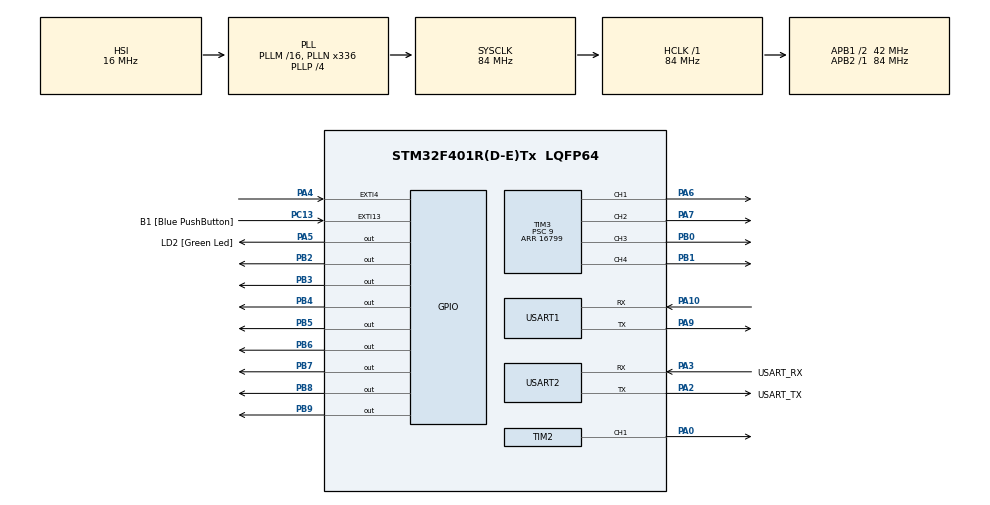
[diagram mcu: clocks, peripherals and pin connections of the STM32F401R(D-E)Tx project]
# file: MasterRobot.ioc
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Mcu.Family=STM32F4
Mcu.Name=STM32F401R(D-E)Tx
Mcu.Package=LQFP64
NVIC.EXTI15_10_IRQn=true\:0\:0\:false\:false\:true\:true\:true
NVIC.EXTI4_IRQn=true\:0\:0\:false\:false\:true\:true\:true
NVIC.PriorityGroup=NVIC_PRIORITYGROUP_0
NVIC.TIM5_IRQn=true\:0\:0\:false\:false\:true\:true\:true
NVIC.USART1_IRQn=true\:0\:0\:false\:false\:true\:true\:true
PA0-WKUP.Signal=S_TIM2_CH1_ETR
PA10.Mode=Asynchronous
PA10.Signal=USART1_RX
PA13.GPIO_Label=TMS
PA13.Mode=Serial_Wire
PA13.Signal=SYS_JTMS-SWDIO
PA14.GPIO_Label=TCK
PA14.Mode=Serial_Wire
PA14.Signal=SYS_JTCK-SWCLK
PA2.GPIO_Label=USART_TX
PA2.GPIO_Mode=GPIO_MODE_AF_PP
PA2.GPIO_PuPd=GPIO_NOPULL
PA2.GPIO_Speed=GPIO_SPEED_FREQ_LOW
PA2.Mode=Asynchronous
PA2.Signal=USART2_TX
PA3.GPIO_Label=USART_RX
PA3.GPIO_Mode=GPIO_MODE_AF_PP
PA3.GPIO_PuPd=GPIO_NOPULL
PA3.GPIO_Speed=GPIO_SPEED_FREQ_LOW
PA3.Mode=Asynchronous
PA3.Signal=USART2_RX
PA4.Signal=GPXTI4
PA5.GPIO_Label=LD2 [Green Led]
PA5.GPIO_Mode=GPIO_MODE_OUTPUT_PP
PA5.GPIO_PuPd=GPIO_NOPULL
PA5.GPIO_Speed=GPIO_SPEED_FREQ_LOW
PA5.Signal=GPIO_Output
PA6.Signal=S_TIM3_CH1
PA7.Signal=S_TIM3_CH2
PA9.Mode=Asynchronous
PA9.Signal=USART1_TX
PB0.Signal=S_TIM3_CH3
PB1.Signal=S_TIM3_CH4
PB2.Signal=GPIO_Output
PB3.Signal=GPIO_Output
PB4.Signal=GPIO_Output
PB5.Signal=GPIO_Output
PB6.Signal=GPIO_Output
PB7.Signal=GPIO_Output
PB8.Signal=GPIO_Output
PB9.Signal=GPIO_Output
PC13-ANTI_TAMP.GPIO_Label=B1 [Blue PushButton]
PC13-ANTI_TAMP.GPIO_ModeDefaultEXTI=GPIO_MODE_IT_FALLING
PC13-ANTI_TAMP.GPIO_PuPd=GPIO_NOPULL
PC13-ANTI_TAMP.Signal=GPXTI13
PC14-OSC32_IN.Mode=LSE-External-Oscillator
PC14-OSC32_IN.Signal=RCC_OSC32_IN
PC15-OSC32_OUT.Mode=LSE-External-Oscillator
PC15-OSC32_OUT.Signal=RCC_OSC32_OUT
PH0\ -\ OSC_IN.Mode=HSE-External-Clock-Source
PH0\ -\ OSC_IN.Signal=RCC_OSC_IN
PH1\ -\ OSC_OUT.Mode=HSE-External-Clock-Source
PH1\ -\ OSC_OUT.Signal=RCC_OSC_OUT
ProjectManager.HeapSize=0x200
ProjectManager.StackSize=0x400
ProjectManager.TargetToolchain=STM32CubeIDE
RCC.48MHZClocksFreq_Value=48000000
RCC.AHBFreq_Value=84000000
RCC.APB1CLKDivider=RCC_HCLK_DIV2
RCC.APB1Freq_Value=42000000
RCC.APB1TimFreq_Value=84000000
RCC.APB2Freq_Value=84000000
RCC.APB2TimFreq_Value=84000000
RCC.CortexFreq_Value=84000000
RCC.HCLKFreq_Value=84000000
RCC.HSE_VALUE=8000000
RCC.HSI_VALUE=16000000
RCC.PLLN=336
RCC.PLLP=RCC_PLLP_DIV4
RCC.PLLQ=7
RCC.SYSCLKFreq_VALUE=84000000
RCC.SYSCLKSource=RCC_SYSCLKSOURCE_PLLCLK
RCC.VCOOutputFreq_Value=336000000
SH.S_TIM2_CH1_ETR.0=TIM2_CH1,PWM Generation1 CH1
SH.S_TIM3_CH1.0=TIM3_CH1,PWM Generation1 CH1
SH.S_TIM3_CH2.0=TIM3_CH2,PWM Generation2 CH2
SH.S_TIM3_CH3.0=TIM3_CH3,PWM Generation3 CH3
SH.S_TIM3_CH4.0=TIM3_CH4,PWM Generation4 CH4
TIM1.Channel-Output\ Compare1\ No\ Output=TIM_CHANNEL_1
TIM1.Prescaler=83
TIM2.Channel-PWM\ Generation1\ CH1=TIM_CHANNEL_1
TIM2.Period=25
TIM2.Prescaler=83
TIM2.Pulse-PWM\ Generation1\ CH1=13
TIM3.AutoReloadPreload=TIM_AUTORELOAD_PRELOAD_ENABLE
TIM3.Channel-PWM\ Generation1\ CH1=TIM_CHANNEL_1
TIM3.Channel-PWM\ Generation2\ CH2=TIM_CHANNEL_2
TIM3.Channel-PWM\ Generation3\ CH3=TIM_CHANNEL_3
TIM3.Channel-PWM\ Generation4\ CH4=TIM_CHANNEL_4
TIM3.Period=16799
TIM3.Prescaler=9
TIM5.Channel-Output\ Compare2\ No\ Output=TIM_CHANNEL_2
TIM5.Period=59999
TIM5.Prescaler=83
USART1.VirtualMode=VM_ASYNC
USART2.VirtualMode=VM_ASYNC
VP_TIM1_VS_no_output1.Mode=Output Compare1 No Output
VP_TIM2_VS_ClockSourceINT.Mode=Internal
VP_TIM3_VS_ClockSourceINT.Mode=Internal
VP_TIM5_VS_ClockSourceINT.Mode=Internal
VP_TIM5_VS_no_output2.Mode=Output Compare2 No Output
board=NUCLEO-F401RE

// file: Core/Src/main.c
/* USER CODE BEGIN Header */
/**
  ******************************************************************************
  * @file           : main.c
  * @brief          : Main program body
  ******************************************************************************
  * @attention
  *
  * <h2><center>&copy; Copyright (c) 2021 STMicroelectronics.
  * All rights reserved.</center></h2>
  *
  * This software component is licensed by ST under BSD 3-Clause license,
  * the "License"; You may not use this file except in compliance with the
  * License. You may obtain a copy of the License at:
  *                        opensource.org/licenses/BSD-3-Clause
  *
  ******************************************************************************
  */
/* USER CODE END Header */
#include "main.h"

/* USER CODE BEGIN Includes */
#include "motor.h"
#include "stepper.h"
/* USER CODE END Includes */

TIM_HandleTypeDef htim1;
TIM_HandleTypeDef htim2;
TIM_HandleTypeDef htim3;
TIM_HandleTypeDef htim5;

UART_HandleTypeDef huart1;
UART_HandleTypeDef huart2;

void SystemClock_Config(void);
static void MX_GPIO_Init(void);
static void MX_USART2_UART_Init(void);
static void MX_TIM2_Init(void);
static void MX_TIM3_Init(void);
static void MX_USART1_UART_Init(void);
static void MX_TIM5_Init(void);
static void MX_TIM1_Init(void);

/* USER CODE BEGIN 0 */
// IR STUFF
static uint8_t hitBit = 0;
static uint8_t cooldown = 0;

void fire() {
	//start TIM5 Channel 2 (pulse high)
	HAL_TIM_Base_Start_IT(&htim5);

	//start TIM2 Channel 1 (38kHz emitter)
	TIM_OC_InitTypeDef sConfigOC;
	htim2.Init.Period = 25;
	HAL_TIM_PWM_Init(&htim2);

	sConfigOC.OCMode = TIM_OCMODE_PWM1;
	sConfigOC.Pulse = 13;
	sConfigOC.OCPolarity = TIM_OCPOLARITY_HIGH;
	sConfigOC.OCFastMode = TIM_OCFAST_DISABLE;
	HAL_TIM_PWM_ConfigChannel(&htim2, &sConfigOC, TIM_CHANNEL_1);
	HAL_TIM_PWM_Start(&htim2, TIM_CHANNEL_1);

}
void HAL_TIM_PeriodElapsedCallback(TIM_HandleTypeDef *htim) {

	if (htim == &htim5) {
		//turn off 38kHz emitter
		HAL_TIM_PWM_Stop(&htim2, TIM_CHANNEL_1);
	}

}

void HAL_GPIO_EXTI_Callback(uint16_t pin) {
	//ir reciever hit
	if (pin == GPIO_PIN_4 && !cooldown) {
		// Send "hit" bit to glove
		hitBit = 1;
	}
}

//XBEE RECIEVE
MOTOR motor1 = {&htim3, TIM_CHANNEL_1, GPIOB, GPIOB, GPIO_PIN_2, GPIO_PIN_3};
MOTOR motor2 = {&htim3, TIM_CHANNEL_2, GPIOB, GPIOB, GPIO_PIN_4, GPIO_PIN_5};
MOTOR motor3 = {&htim3, TIM_CHANNEL_3, GPIOB, GPIOB, GPIO_PIN_6, GPIO_PIN_7};
MOTOR motor4 = {&htim3, TIM_CHANNEL_4, GPIOB, GPIOB, GPIO_PIN_8, GPIO_PIN_9};

uint8_t Rx_data[13];
void HAL_UART_RxCpltCallback(UART_HandleTypeDef *huart)
{
	HAL_StatusTypeDef ret = HAL_UART_Receive_IT(&huart1, Rx_data, 7);

	// Send to terminal for debugging

	int8_t m1 = Rx_data[1] - 10;
	int8_t m2 = Rx_data[2] - 10;
	int8_t m3 = Rx_data[3] - 10;
	int8_t m4 = Rx_data[4] - 10;
	cooldown = Rx_data[5];
	uint8_t position = Rx_data[6];

	char buf[7];
	HAL_UART_Transmit(&huart2, (uint8_t*)buf, sprintf(buf, "%d\t", m1), HAL_MAX_DELAY);
	HAL_UART_Transmit(&huart2, (uint8_t*)buf, sprintf(buf, "%d\t", m2), HAL_MAX_DELAY);
	HAL_UART_Transmit(&huart2, (uint8_t*)buf, sprintf(buf, "%d\t", m3), HAL_MAX_DELAY);
	HAL_UART_Transmit(&huart2, (uint8_t*)buf, sprintf(buf, "%d\t", m4), HAL_MAX_DELAY);
	HAL_UART_Transmit(&huart2, (uint8_t*)buf, sprintf(buf, "%d\t", Rx_data[0]), HAL_MAX_DELAY);
	HAL_UART_Transmit(&huart2, (uint8_t*)buf, sprintf(buf, "%d\t", cooldown), HAL_MAX_DELAY);
	HAL_UART_Transmit(&huart2, (uint8_t*)buf, sprintf(buf, "%d\r\n", position), HAL_MAX_DELAY);

	motor_move(&motor1, m1);
	motor_move(&motor2, m2);
	motor_move(&motor3, m3);
	motor_move(&motor4, m4);
	move_stepper(position);

	uint8_t buf2[1];
	buf2[0] = hitBit;
	//transmit hit bit
	ret = HAL_UART_Transmit(&huart1, (uint8_t*)buf2, 1, HAL_MAX_DELAY);

	// FIRE
	if(Rx_data[0]){
		//pew pew
		fire();
	}
}

/* USER CODE END 0 */

int main(void)
{

  /* MCU Configuration--------------------------------------------------------*/

  /* Reset of all peripherals, Initializes the Flash interface and the Systick. */
  HAL_Init();

  /* Configure the system clock */
  SystemClock_Config();

  /* Initialize all configured peripherals */
  MX_GPIO_Init();
  MX_USART2_UART_Init();
  MX_TIM2_Init();
  MX_TIM3_Init();
  MX_USART1_UART_Init();
  MX_TIM5_Init();
  MX_TIM1_Init();
  /* USER CODE BEGIN 2 */

  motor_init(&motor1);
  motor_init(&motor2);
  motor_init(&motor3);
  motor_init(&motor4);

  stepper_init(&htim1);

  HAL_UART_Receive_IT(&huart1, Rx_data, 7);
  /* USER CODE END 2 */

  /* Infinite loop */
  while (1)
  {

  }
}

void SystemClock_Config(void)
{
  RCC_OscInitTypeDef RCC_OscInitStruct = {0};
  RCC_ClkInitTypeDef RCC_ClkInitStruct = {0};

  /** Configure the main internal regulator output voltage
  */
  __HAL_RCC_PWR_CLK_ENABLE();
  __HAL_PWR_VOLTAGESCALING_CONFIG(PWR_REGULATOR_VOLTAGE_SCALE2);
  /** Initializes the RCC Oscillators according to the specified parameters
  * in the RCC_OscInitTypeDef structure.
  */
  RCC_OscInitStruct.OscillatorType = RCC_OSCILLATORTYPE_HSI;
  RCC_OscInitStruct.HSIState = RCC_HSI_ON;
  RCC_OscInitStruct.HSICalibrationValue = RCC_HSICALIBRATION_DEFAULT;
  RCC_OscInitStruct.PLL.PLLState = RCC_PLL_ON;
  RCC_OscInitStruct.PLL.PLLSource = RCC_PLLSOURCE_HSI;
  RCC_OscInitStruct.PLL.PLLM = 16;
  RCC_OscInitStruct.PLL.PLLN = 336;
  RCC_OscInitStruct.PLL.PLLP = RCC_PLLP_DIV4;
  RCC_OscInitStruct.PLL.PLLQ = 7;
  if (HAL_RCC_OscConfig(&RCC_OscInitStruct) != HAL_OK)
  {
    Error_Handler();
  }
  /** Initializes the CPU, AHB and APB buses clocks
  */
  RCC_ClkInitStruct.ClockType = RCC_CLOCKTYPE_HCLK|RCC_CLOCKTYPE_SYSCLK
                              |RCC_CLOCKTYPE_PCLK1|RCC_CLOCKTYPE_PCLK2;
  RCC_ClkInitStruct.SYSCLKSource = RCC_SYSCLKSOURCE_PLLCLK;
  RCC_ClkInitStruct.AHBCLKDivider = RCC_SYSCLK_DIV1;
  RCC_ClkInitStruct.APB1CLKDivider = RCC_HCLK_DIV2;
  RCC_ClkInitStruct.APB2CLKDivider = RCC_HCLK_DIV1;

  if (HAL_RCC_ClockConfig(&RCC_ClkInitStruct, FLASH_LATENCY_2) != HAL_OK)
  {
    Error_Handler();
  }
}

static void MX_TIM1_Init(void)
{

  TIM_MasterConfigTypeDef sMasterConfig = {0};
  TIM_OC_InitTypeDef sConfigOC = {0};
  TIM_BreakDeadTimeConfigTypeDef sBreakDeadTimeConfig = {0};

  htim1.Instance = TIM1;
  htim1.Init.Prescaler = 83;
  htim1.Init.CounterMode = TIM_COUNTERMODE_UP;
  htim1.Init.Period = 65535;
  htim1.Init.ClockDivision = TIM_CLOCKDIVISION_DIV1;
  htim1.Init.RepetitionCounter = 0;
  htim1.Init.AutoReloadPreload = TIM_AUTORELOAD_PRELOAD_DISABLE;
  if (HAL_TIM_OC_Init(&htim1) != HAL_OK)
  {
    Error_Handler();
  }
  sMasterConfig.MasterOutputTrigger = TIM_TRGO_RESET;
  sMasterConfig.MasterSlaveMode = TIM_MASTERSLAVEMODE_DISABLE;
  if (HAL_TIMEx_MasterConfigSynchronization(&htim1, &sMasterConfig) != HAL_OK)
  {
    Error_Handler();
  }
  sConfigOC.OCMode = TIM_OCMODE_TIMING;
  sConfigOC.Pulse = 0;
  sConfigOC.OCPolarity = TIM_OCPOLARITY_HIGH;
  sConfigOC.OCNPolarity = TIM_OCNPOLARITY_HIGH;
  sConfigOC.OCFastMode = TIM_OCFAST_DISABLE;
  sConfigOC.OCIdleState = TIM_OCIDLESTATE_RESET;
  sConfigOC.OCNIdleState = TIM_OCNIDLESTATE_RESET;
  if (HAL_TIM_OC_ConfigChannel(&htim1, &sConfigOC, TIM_CHANNEL_1) != HAL_OK)
  {
    Error_Handler();
  }
  sBreakDeadTimeConfig.OffStateRunMode = TIM_OSSR_DISABLE;
  sBreakDeadTimeConfig.OffStateIDLEMode = TIM_OSSI_DISABLE;
  sBreakDeadTimeConfig.LockLevel = TIM_LOCKLEVEL_OFF;
  sBreakDeadTimeConfig.DeadTime = 0;
  sBreakDeadTimeConfig.BreakState = TIM_BREAK_DISABLE;
  sBreakDeadTimeConfig.BreakPolarity = TIM_BREAKPOLARITY_HIGH;
  sBreakDeadTimeConfig.AutomaticOutput = TIM_AUTOMATICOUTPUT_DISABLE;
  if (HAL_TIMEx_ConfigBreakDeadTime(&htim1, &sBreakDeadTimeConfig) != HAL_OK)
  {
    Error_Handler();
  }

}

static void MX_TIM2_Init(void)
{

  TIM_ClockConfigTypeDef sClockSourceConfig = {0};
  TIM_MasterConfigTypeDef sMasterConfig = {0};
  TIM_OC_InitTypeDef sConfigOC = {0};

  htim2.Instance = TIM2;
  htim2.Init.Prescaler = 83;
  htim2.Init.CounterMode = TIM_COUNTERMODE_UP;
  htim2.Init.Period = 25;
  htim2.Init.ClockDivision = TIM_CLOCKDIVISION_DIV1;
  htim2.Init.AutoReloadPreload = TIM_AUTORELOAD_PRELOAD_DISABLE;
  if (HAL_TIM_Base_Init(&htim2) != HAL_OK)
  {
    Error_Handler();
  }
  sClockSourceConfig.ClockSource = TIM_CLOCKSOURCE_INTERNAL;
  if (HAL_TIM_ConfigClockSource(&htim2, &sClockSourceConfig) != HAL_OK)
  {
    Error_Handler();
  }
  if (HAL_TIM_PWM_Init(&htim2) != HAL_OK)
  {
    Error_Handler();
  }
  sMasterConfig.MasterOutputTrigger = TIM_TRGO_RESET;
  sMasterConfig.MasterSlaveMode = TIM_MASTERSLAVEMODE_DISABLE;
  if (HAL_TIMEx_MasterConfigSynchronization(&htim2, &sMasterConfig) != HAL_OK)
  {
    Error_Handler();
  }
  sConfigOC.OCMode = TIM_OCMODE_PWM1;
  sConfigOC.Pulse = 13;
  sConfigOC.OCPolarity = TIM_OCPOLARITY_HIGH;
  sConfigOC.OCFastMode = TIM_OCFAST_DISABLE;
  if (HAL_TIM_PWM_ConfigChannel(&htim2, &sConfigOC, TIM_CHANNEL_1) != HAL_OK)
  {
    Error_Handler();
  }
  HAL_TIM_MspPostInit(&htim2);

}

static void MX_TIM3_Init(void)
{

  TIM_ClockConfigTypeDef sClockSourceConfig = {0};
  TIM_MasterConfigTypeDef sMasterConfig = {0};
  TIM_OC_InitTypeDef sConfigOC = {0};

  htim3.Instance = TIM3;
  htim3.Init.Prescaler = 9;
  htim3.Init.CounterMode = TIM_COUNTERMODE_UP;
  htim3.Init.Period = 16799;
  htim3.Init.ClockDivision = TIM_CLOCKDIVISION_DIV1;
  htim3.Init.AutoReloadPreload = TIM_AUTORELOAD_PRELOAD_ENABLE;
  if (HAL_TIM_Base_Init(&htim3) != HAL_OK)
  {
    Error_Handler();
  }
  sClockSourceConfig.ClockSource = TIM_CLOCKSOURCE_INTERNAL;
  if (HAL_TIM_ConfigClockSource(&htim3, &sClockSourceConfig) != HAL_OK)
  {
    Error_Handler();
  }
  if (HAL_TIM_PWM_Init(&htim3) != HAL_OK)
  {
    Error_Handler();
  }
  sMasterConfig.MasterOutputTrigger = TIM_TRGO_RESET;
  sMasterConfig.MasterSlaveMode = TIM_MASTERSLAVEMODE_DISABLE;
  if (HAL_TIMEx_MasterConfigSynchronization(&htim3, &sMasterConfig) != HAL_OK)
  {
    Error_Handler();
  }
  sConfigOC.OCMode = TIM_OCMODE_PWM1;
  sConfigOC.Pulse = 0;
  sConfigOC.OCPolarity = TIM_OCPOLARITY_HIGH;
  sConfigOC.OCFastMode = TIM_OCFAST_DISABLE;
  if (HAL_TIM_PWM_ConfigChannel(&htim3, &sConfigOC, TIM_CHANNEL_1) != HAL_OK)
  {
    Error_Handler();
  }
  if (HAL_TIM_PWM_ConfigChannel(&htim3, &sConfigOC, TIM_CHANNEL_2) != HAL_OK)
  {
    Error_Handler();
  }
  if (HAL_TIM_PWM_ConfigChannel(&htim3, &sConfigOC, TIM_CHANNEL_3) != HAL_OK)
  {
    Error_Handler();
  }
  if (HAL_TIM_PWM_ConfigChannel(&htim3, &sConfigOC, TIM_CHANNEL_4) != HAL_OK)
  {
    Error_Handler();
  }
  HAL_TIM_MspPostInit(&htim3);

}

static void MX_TIM5_Init(void)
{

  TIM_ClockConfigTypeDef sClockSourceConfig = {0};
  TIM_MasterConfigTypeDef sMasterConfig = {0};
  TIM_OC_InitTypeDef sConfigOC = {0};

  htim5.Instance = TIM5;
  htim5.Init.Prescaler = 83;
  htim5.Init.CounterMode = TIM_COUNTERMODE_UP;
  htim5.Init.Period = 59999;
  htim5.Init.ClockDivision = TIM_CLOCKDIVISION_DIV1;
  htim5.Init.AutoReloadPreload = TIM_AUTORELOAD_PRELOAD_DISABLE;
  if (HAL_TIM_Base_Init(&htim5) != HAL_OK)
  {
    Error_Handler();
  }
  sClockSourceConfig.ClockSource = TIM_CLOCKSOURCE_INTERNAL;
  if (HAL_TIM_ConfigClockSource(&htim5, &sClockSourceConfig) != HAL_OK)
  {
    Error_Handler();
  }
  if (HAL_TIM_OC_Init(&htim5) != HAL_OK)
  {
    Error_Handler();
  }
  sMasterConfig.MasterOutputTrigger = TIM_TRGO_RESET;
  sMasterConfig.MasterSlaveMode = TIM_MASTERSLAVEMODE_DISABLE;
  if (HAL_TIMEx_MasterConfigSynchronization(&htim5, &sMasterConfig) != HAL_OK)
  {
    Error_Handler();
  }
  sConfigOC.OCMode = TIM_OCMODE_TIMING;
  sConfigOC.Pulse = 0;
  sConfigOC.OCPolarity = TIM_OCPOLARITY_HIGH;
  sConfigOC.OCFastMode = TIM_OCFAST_DISABLE;
  if (HAL_TIM_OC_ConfigChannel(&htim5, &sConfigOC, TIM_CHANNEL_2) != HAL_OK)
  {
    Error_Handler();
  }

}

static void MX_USART1_UART_Init(void)
{

  huart1.Instance = USART1;
  huart1.Init.BaudRate = 115200;
  huart1.Init.WordLength = UART_WORDLENGTH_8B;
  huart1.Init.StopBits = UART_STOPBITS_1;
  huart1.Init.Parity = UART_PARITY_NONE;
  huart1.Init.Mode = UART_MODE_TX_RX;
  huart1.Init.HwFlowCtl = UART_HWCONTROL_NONE;
  huart1.Init.OverSampling = UART_OVERSAMPLING_16;
  if (HAL_UART_Init(&huart1) != HAL_OK)
  {
    Error_Handler();
  }

}

static void MX_USART2_UART_Init(void)
{

  huart2.Instance = USART2;
  huart2.Init.BaudRate = 115200;
  huart2.Init.WordLength = UART_WORDLENGTH_8B;
  huart2.Init.StopBits = UART_STOPBITS_1;
  huart2.Init.Parity = UART_PARITY_NONE;
  huart2.Init.Mode = UART_MODE_TX_RX;
  huart2.Init.HwFlowCtl = UART_HWCONTROL_NONE;
  huart2.Init.OverSampling = UART_OVERSAMPLING_16;
  if (HAL_UART_Init(&huart2) != HAL_OK)
  {
    Error_Handler();
  }

}

static void MX_GPIO_Init(void)
{
  GPIO_InitTypeDef GPIO_InitStruct = {0};

  /* GPIO Ports Clock Enable */
  __HAL_RCC_GPIOC_CLK_ENABLE();
  __HAL_RCC_GPIOH_CLK_ENABLE();
  __HAL_RCC_GPIOA_CLK_ENABLE();
  __HAL_RCC_GPIOB_CLK_ENABLE();

  /*Configure GPIO pin Output Level */
  HAL_GPIO_WritePin(LD2_GPIO_Port, LD2_Pin, GPIO_PIN_RESET);

  /*Configure GPIO pin Output Level */
  HAL_GPIO_WritePin(GPIOB, GPIO_PIN_2|GPIO_PIN_3|GPIO_PIN_4|GPIO_PIN_5
                          |GPIO_PIN_6|GPIO_PIN_7|GPIO_PIN_8|GPIO_PIN_9, GPIO_PIN_RESET);

  /*Configure GPIO pin : B1_Pin */
  GPIO_InitStruct.Pin = B1_Pin;
  GPIO_InitStruct.Mode = GPIO_MODE_IT_FALLING;
  GPIO_InitStruct.Pull = GPIO_NOPULL;
  HAL_GPIO_Init(B1_GPIO_Port, &GPIO_InitStruct);

  /*Configure GPIO pin : PA4 */
  GPIO_InitStruct.Pin = GPIO_PIN_4;
  GPIO_InitStruct.Mode = GPIO_MODE_IT_RISING;
  GPIO_InitStruct.Pull = GPIO_NOPULL;
  HAL_GPIO_Init(GPIOA, &GPIO_InitStruct);

  /*Configure GPIO pin : LD2_Pin */
  GPIO_InitStruct.Pin = LD2_Pin;
  GPIO_InitStruct.Mode = GPIO_MODE_OUTPUT_PP;
  GPIO_InitStruct.Pull = GPIO_NOPULL;
  GPIO_InitStruct.Speed = GPIO_SPEED_FREQ_LOW;
  HAL_GPIO_Init(LD2_GPIO_Port, &GPIO_InitStruct);

  /*Configure GPIO pins : PB2 PB3 PB4 PB5
                           PB6 PB7 PB8 PB9 */
  GPIO_InitStruct.Pin = GPIO_PIN_2|GPIO_PIN_3|GPIO_PIN_4|GPIO_PIN_5
                          |GPIO_PIN_6|GPIO_PIN_7|GPIO_PIN_8|GPIO_PIN_9;
  GPIO_InitStruct.Mode = GPIO_MODE_OUTPUT_PP;
  GPIO_InitStruct.Pull = GPIO_NOPULL;
  GPIO_InitStruct.Speed = GPIO_SPEED_FREQ_LOW;
  HAL_GPIO_Init(GPIOB, &GPIO_InitStruct);

  /* EXTI interrupt init*/
  HAL_NVIC_SetPriority(EXTI4_IRQn, 0, 0);
  HAL_NVIC_EnableIRQ(EXTI4_IRQn);

  HAL_NVIC_SetPriority(EXTI15_10_IRQn, 0, 0);
  HAL_NVIC_EnableIRQ(EXTI15_10_IRQn);

}

void Error_Handler(void)
{
  __disable_irq();
  while (1)
  {
  }
}

/************************ (C) COPYRIGHT STMicroelectronics *****END OF FILE****/
